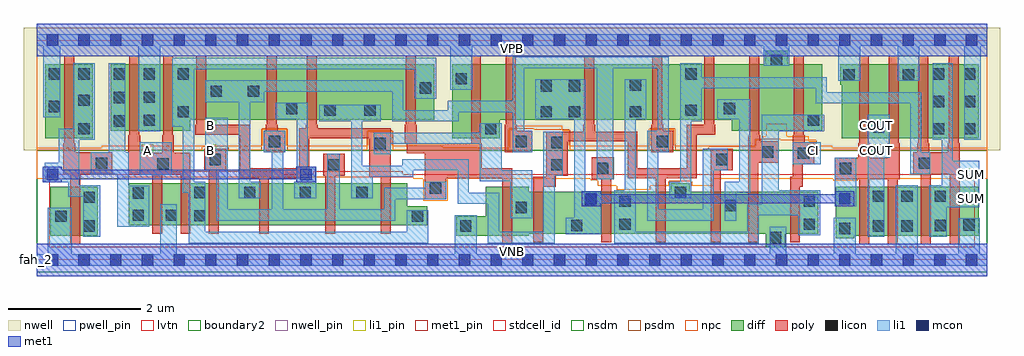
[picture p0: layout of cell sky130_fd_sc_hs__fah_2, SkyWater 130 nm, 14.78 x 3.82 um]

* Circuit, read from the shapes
.subckt sky130_fd_sc_hs__fah_2 A B CI COUT SUM VGND VNB VPB VPWR
XM1 n1 n2 VGND VNB sky130_fd_pr__nfet_01v8_lvt w=0.74 l=0.15
XM2 VGND A n2 VNB sky130_fd_pr__nfet_01v8_lvt w=0.64 l=0.15
XM3 n3 A VGND VNB sky130_fd_pr__nfet_01v8_lvt w=0.64 l=0.15
XM4 n4 B n3 VNB sky130_fd_pr__nfet_01v8_lvt w=0.64 l=0.15
XM5 n1 n5 n4 VNB sky130_fd_pr__nfet_01v8_lvt w=0.64 l=0.15
XM6 n6 B n1 VNB sky130_fd_pr__nfet_01v8_lvt w=0.64 l=0.15
XM7 n3 n5 n6 VNB sky130_fd_pr__nfet_01v8_lvt w=0.64 l=0.15
XM8 n5 B VGND VNB sky130_fd_pr__nfet_01v8_lvt w=0.74 l=0.15
XM9 n7 n6 n5 VNB sky130_fd_pr__nfet_01v8_lvt w=0.64 l=0.15
XM10 n8 n4 n7 VNB sky130_fd_pr__nfet_01v8_lvt w=0.64 l=0.15
XM11 n9 n6 n8 VNB sky130_fd_pr__nfet_01v8_lvt w=0.64 l=0.15
XM12 n10 n4 n9 VNB sky130_fd_pr__nfet_01v8_lvt w=0.64 l=0.15
XM13 VGND n8 n10 VNB sky130_fd_pr__nfet_01v8_lvt w=0.64 l=0.15
XM14 n8 CI VGND VNB sky130_fd_pr__nfet_01v8_lvt w=0.64 l=0.15
XM15 COUT n7 VGND VNB sky130_fd_pr__nfet_01v8_lvt w=0.74 l=0.15 m=2
XM16 SUM n9 VGND VNB sky130_fd_pr__nfet_01v8_lvt w=0.74 l=0.15 m=2
XM17 n1 n2 VPWR VPB sky130_fd_pr__pfet_01v8 w=1.12 l=0.15
XM18 VPWR A n2 VPB sky130_fd_pr__pfet_01v8 w=1 l=0.15
XM19 n3 A VPWR VPB sky130_fd_pr__pfet_01v8 w=1 l=0.15
XM20 n4 n5 n3 VPB sky130_fd_pr__pfet_01v8 w=0.84 l=0.15
XM21 n1 B n4 VPB sky130_fd_pr__pfet_01v8 w=0.84 l=0.15
XM22 n6 n5 n1 VPB sky130_fd_pr__pfet_01v8 w=0.84 l=0.15
XM23 n3 B n6 VPB sky130_fd_pr__pfet_01v8 w=0.84 l=0.15
XM24 n5 B VPWR VPB sky130_fd_pr__pfet_01v8 w=1.12 l=0.15
XM25 n7 n4 n5 VPB sky130_fd_pr__pfet_01v8 w=0.84 l=0.15
XM26 n8 n6 n7 VPB sky130_fd_pr__pfet_01v8 w=0.84 l=0.15
XM27 n9 n4 n8 VPB sky130_fd_pr__pfet_01v8 w=0.84 l=0.15
XM28 n10 n6 n9 VPB sky130_fd_pr__pfet_01v8 w=0.84 l=0.15
XM29 VPWR n8 n10 VPB sky130_fd_pr__pfet_01v8 w=1 l=0.15
XM30 n8 CI VPWR VPB sky130_fd_pr__pfet_01v8 w=1 l=0.15
XM31 COUT n7 VPWR VPB sky130_fd_pr__pfet_01v8 w=1.12 l=0.15 m=2
XM32 SUM n9 VPWR VPB sky130_fd_pr__pfet_01v8 w=1.12 l=0.15 m=2
.ends

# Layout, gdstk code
import gdstk
lib = gdstk.Library(unit=1e-6, precision=1e-09)
def R(c, l, rs):  # rectangles x0, y0, x1, y1
    for r in rs: c.add(gdstk.rectangle(r[:2], r[2:], *l))
def A(c, l, x, y, w, h, nx, ny, dx, dy):  # array of equal rectangles
    R(c, l, [(x+i*dx, y+j*dy, x+i*dx+w, y+j*dy+h) for i in range(nx) for j in range(ny)])
def P(c, l, *ps):  # polygons
    for p in ps: c.add(gdstk.Polygon(p, *l))
nwell_pin = (64, 16)
nwell = (64, 20)
diff = (65, 20)
poly = (66, 20)
licon = (66, 44)
li1_pin = (67, 16)
li1 = (67, 20)
mcon = (67, 44)
met1_pin = (68, 16)
met1 = (68, 20)
stdcell_id = (81, 4)
nsdm = (93, 44)
psdm = (94, 20)
npc = (95, 20)
pwell_pin = (122, 16)
lvtn = (125, 44)
boundary2 = (236, 0)

sky130_fd_sc_hs__fah_2 = lib.new_cell('sky130_fd_sc_hs__fah_2')
R(sky130_fd_sc_hs__fah_2, nwell_pin, [(0,3.085,14.4,3.33)])
R(sky130_fd_sc_hs__fah_2, nwell, [(-0.19,1.66,14.59,3.52)])
R(sky130_fd_sc_hs__fah_2, diff, [(0.21,0.37,0.925,1.11), (0.135,1.84,0.85,2.96)])
P(sky130_fd_sc_hs__fah_2, diff, [(5.915,0.81),(5.615,0.81),(5.615,1.165),(1.395,1.165),(1.395,0.525),(5.915,0.525)],
  [(6.025,2.96),(1.12,2.96),(1.12,1.96),(2.33,1.96),(2.33,2.12),(6.025,2.12)],
  [(11.835,1.035),(9.895,1.035),(9.895,1.165),(9.605,1.165),(9.605,1.035),(7.45,1.035),(7.45,1.11),(6.8,1.11),(6.8,0.66),(6.355,0.66),(6.355,0.37),(7.45,0.37),(7.45,0.395),(11.045,0.395),(11.045,0.195),(11.335,0.195),(11.335,0.395),(11.835,0.395)],
  [(11.9,2.96),(11.375,2.96),(11.375,3.17),(11.035,3.17),(11.035,2.96),(6.295,2.96),(6.295,1.84),(7.015,1.84),(7.015,2.12),(10.53,2.12),(10.53,1.96),(11.9,1.96)],
  [(14.265,2.96),(12.17,2.96),(12.17,2.65),(12.19,2.65),(12.19,1.84),(14.265,1.84)],
  [(14.265,1.11),(12.105,1.11),(12.105,0.33),(12.385,0.33),(12.385,0.37),(14.265,0.37)])
P(sky130_fd_sc_hs__fah_2, poly, [(13.07,1.765),(13.055,1.765),(13.055,3.09),(12.905,3.09),(12.905,1.765),(12.89,1.765),(12.89,1.55),(12.62,1.55),(12.62,1.765),(12.605,1.765),(12.605,3.09),(12.455,3.09),(12.455,1.765),(12.44,1.765),(12.44,1.55),(12.085,1.55),(12.085,1.22),(12.46,1.22),(12.46,0.24),(12.61,0.24),(12.61,1.22),(12.89,1.22),(12.89,0.24),(13.04,0.24),(13.04,1.22),(13.07,1.22)],
  [(13.98,1.765),(13.965,1.765),(13.965,3.09),(13.815,3.09),(13.815,1.765),(13.8,1.765),(13.8,1.63),(13.52,1.63),(13.52,1.765),(13.505,1.765),(13.505,3.09),(13.355,3.09),(13.355,1.765),(13.34,1.765),(13.34,1.63),(13.28,1.63),(13.28,1.3),(13.39,1.3),(13.39,0.24),(13.54,0.24),(13.54,1.3),(13.83,1.3),(13.83,0.24),(13.98,0.24)],
  [(8.74,1.555),(8.41,1.555),(8.41,1.225),(8.55,1.225),(8.55,0.265),(8.7,0.265),(8.7,1.225),(8.74,1.225)],
  [(9.64,1.96),(9.49,1.96),(9.49,2.045),(9.475,2.045),(9.475,3.09),(9.325,3.09),(9.325,2.045),(9.31,2.045),(9.31,1.63),(9.64,1.63)],
  [(10.275,2.045),(10.26,2.045),(10.26,3.09),(10.11,3.09),(10.11,2.045),(9.85,2.045),(9.85,1.39),(9.1,1.39),(9.1,1.945),(8.46,1.945),(8.46,2.045),(8.445,2.045),(8.445,3.09),(8.295,3.09),(8.295,2.045),(8.28,2.045),(8.28,1.945),(7.715,1.945),(7.715,1.26),(7.525,1.26),(7.525,0.265),(7.675,0.265),(7.675,1.11),(7.865,1.11),(7.865,1.275),(8.045,1.275),(8.045,1.795),(8.95,1.795),(8.95,1.24),(9.38,1.24),(9.38,0.265),(9.53,0.265),(9.53,1.24),(10,1.24),(10,1.895),(10.275,1.895)],
  [(10.54,1.685),(10.21,1.685),(10.21,0.265),(10.36,0.265),(10.36,1.355),(10.54,1.355)],
  [(11.24,1.8),(10.96,1.8),(10.96,1.885),(10.945,1.885),(10.945,3.09),(10.795,3.09),(10.795,1.885),(10.78,1.885),(10.78,0.265),(10.93,0.265),(10.93,1.47),(11.24,1.47)],
  [(11.78,1.78),(11.63,1.78),(11.63,1.885),(11.615,1.885),(11.615,3.09),(11.465,3.09),(11.465,1.885),(11.45,1.885),(11.45,1.26),(11.41,1.26),(11.41,0.265),(11.56,0.265),(11.56,1.11),(11.6,1.11),(11.6,1.45),(11.78,1.45)],
  [(1.15,1.63),(0.585,1.63),(0.585,1.765),(0.57,1.765),(0.57,3.09),(0.42,3.09),(0.42,1.765),(0.405,1.765),(0.405,1.3),(0.51,1.3),(0.51,0.24),(0.66,0.24),(0.66,1.3),(1.15,1.3)],
  [(2.33,1.62),(2.08,1.62),(2.08,1.885),(2.065,1.885),(2.065,3.09),(1.915,3.09),(1.915,1.885),(1.9,1.885),(1.9,1.62),(1.57,1.62),(1.57,1.885),(1.555,1.885),(1.555,3.09),(1.405,3.09),(1.405,1.885),(1.39,1.885),(1.39,1.29),(1.75,1.29),(1.75,0.395),(1.9,0.395),(1.9,1.29),(2.18,1.29),(2.18,0.395),(2.33,0.395)],
  [(2.87,1.685),(2.54,1.685),(2.54,1.355),(2.61,1.355),(2.61,0.395),(2.76,0.395),(2.76,1.355),(2.87,1.355)],
  [(3.77,1.96),(3.65,1.96),(3.65,2.045),(3.635,2.045),(3.635,3.09),(3.485,3.09),(3.485,2.045),(3.47,2.045),(3.47,1.96),(3.44,1.96),(3.44,1.63),(3.77,1.63)],
  [(4.67,1.605),(4.34,1.605),(4.34,1.275),(4.37,1.275),(4.37,0.395),(4.52,0.395),(4.52,1.275),(4.67,1.275)],
  [(5.365,1.995),(4.26,1.995),(4.26,2.045),(4.245,2.045),(4.245,3.09),(4.095,3.09),(4.095,2.045),(4.08,2.045),(4.08,1.995),(3.98,1.995),(3.98,1.39),(3.23,1.39),(3.23,2.045),(2.57,2.045),(2.57,3.09),(2.42,3.09),(2.42,2.045),(2.405,2.045),(2.405,1.895),(3.08,1.895),(3.08,1.24),(3.37,1.24),(3.37,0.395),(3.52,0.395),(3.52,1.24),(4.13,1.24),(4.13,1.845),(5.035,1.845),(5.035,1.255),(5.215,1.255),(5.215,0.395),(5.365,0.395)],
  [(7.2,1.39),(6.745,1.39),(6.745,1.765),(6.73,1.765),(6.73,3.09),(6.58,3.09),(6.58,1.765),(5.755,1.765),(5.755,2.045),(5.74,2.045),(5.74,3.09),(5.59,3.09),(5.59,2.045),(5.575,2.045),(5.575,1.765),(5.605,1.765),(5.605,1.615),(5.875,1.615),(5.875,0.92),(6.205,0.92),(6.205,1.24),(7.05,1.24),(7.05,0.24),(7.2,0.24)],
  [(7.505,1.96),(7.27,1.96),(7.27,2.045),(7.255,2.045),(7.255,3.09),(7.105,3.09),(7.105,2.045),(7.09,2.045),(7.09,1.63),(7.505,1.63)])
A(sky130_fd_sc_hs__fah_2, licon, 13.575, 1.9, 0.17, 0.17, 1, 3, 0, 0.415)
A(sky130_fd_sc_hs__fah_2, licon, 14.045, 1.9, 0.17, 0.17, 1, 3, 0, 0.415)
A(sky130_fd_sc_hs__fah_2, licon, 1.17, 2.02, 0.17, 0.17, 1, 3, 0, 0.355)
A(sky130_fd_sc_hs__fah_2, licon, 1.62, 2.03, 0.17, 0.17, 1, 3, 0, 0.35)
R(sky130_fd_sc_hs__fah_2, licon, [(11.105,0.255,11.275,0.425), (12.155,0.39,12.325,0.56), (0.715,0.43,0.885,0.6), (6.415,0.43,6.585,0.6), (12.665,0.43,12.835,0.6), (13.095,0.43,13.265,0.6), (8.095,0.435,8.265,0.605), (13.6,0.435,13.77,0.605), (14.035,0.445,14.205,0.615), (8.825,0.455,8.995,0.625), (11.615,0.455,11.785,0.625), (0.285,0.575,0.455,0.745), (5.685,0.58,5.855,0.75), (2.385,0.585,2.555,0.755), (1.455,0.59,1.625,0.76), (1.955,0.59,2.125,0.76), (7.255,0.71,7.425,0.88), (10.425,0.74,10.595,0.91), (8.825,0.805,8.995,0.975), (11.615,0.805,11.785,0.975), (8.305,0.825,8.475,0.995), (0.715,0.865,0.885,1.035), (12.665,0.88,12.835,1.05), (13.095,0.88,13.265,1.05), (13.6,0.88,13.77,1.05), (1.455,0.93,1.625,1.1), (2.385,0.935,2.555,1.105), (3.145,0.935,3.315,1.105), (3.985,0.935,4.155,1.105), (4.845,0.935,5.015,1.105), (9.665,0.935,9.835,1.105), (5.955,1,6.125,1.17), (12.165,1.3,12.335,1.47), (8.49,1.305,8.66,1.475), (4.42,1.355,4.59,1.525), (7.795,1.355,7.965,1.525), (1.83,1.37,2,1.54), (0.9,1.38,1.07,1.55), (13.36,1.38,13.53,1.55), (2.62,1.435,2.79,1.605), (10.29,1.435,10.46,1.605), (11.53,1.53,11.7,1.7), (10.99,1.55,11.16,1.72), (5.115,1.68,5.285,1.85), (7.795,1.695,7.965,1.865), (3.52,1.71,3.69,1.88), (7.255,1.71,7.425,1.88), (9.39,1.71,9.56,1.88), (0.635,1.9,0.805,2.07), (6.795,1.9,6.965,2.07), (12.67,1.925,12.84,2.095), (11.68,2.03,11.85,2.2), (2.135,2.16,2.305,2.33), (7.635,2.16,7.805,2.33), (8.06,2.16,8.23,2.33), (8.985,2.16,9.155,2.33), (4.36,2.18,4.53,2.35), (4.965,2.18,5.135,2.35), (9.825,2.18,9.995,2.35), (3.78,2.21,3.95,2.38), (10.41,2.21,10.58,2.38), (0.185,2.24,0.355,2.41), (0.635,2.335,0.805,2.505), (2.635,2.47,2.805,2.64), (3.2,2.47,3.37,2.64), (5.805,2.52,5.975,2.69), (7.635,2.55,7.805,2.72), (8.06,2.55,8.23,2.72), (8.985,2.565,9.155,2.735), (6.345,2.66,6.515,2.83), (12.22,2.72,12.39,2.89), (13.12,2.72,13.29,2.89), (0.185,2.73,0.355,2.9), (0.635,2.73,0.805,2.9), (2.135,2.73,2.305,2.9), (9.825,2.73,9.995,2.9), (11.12,2.94,11.29,3.11)])
R(sky130_fd_sc_hs__fah_2, li1_pin, [(14.075,0.84,14.245,1.01), (14.075,1.21,14.245,1.38), (1.595,1.58,1.765,1.75), (2.555,1.58,2.725,1.75), (11.675,1.58,11.845,1.75), (12.635,1.58,12.805,1.75), (2.555,1.95,2.725,2.12), (12.635,1.95,12.805,2.12)])
R(sky130_fd_sc_hs__fah_2, li1, [(12.085,0.81,12.415,1.55), (1.565,1.29,2.045,1.78), (11.45,1.45,11.875,1.78)])
P(sky130_fd_sc_hs__fah_2, li1, [(11.015,2.94),(11.015,3.245),(6.595,3.245),(6.595,2.58),(6.265,2.58),(6.265,3.245),(1.87,3.245),(1.87,1.95),(1.54,1.95),(1.54,3.245),(0.36,3.245),(0.36,2.16),(0.105,2.16),(0.105,3.245),(0,3.245),(0,3.415),(14.4,3.415),(14.4,3.245),(14.295,3.245),(14.295,1.82),(14.045,1.82),(14.045,3.245),(13.37,3.245),(13.37,2.71),(13.04,2.71),(13.04,3.245),(12.47,3.245),(12.47,2.71),(12.14,2.71),(12.14,3.245),(11.395,3.245),(11.395,2.94)],
  [(11.105,0.085),(11.105,0.505),(11.355,0.505),(11.355,0.085),(12.075,0.085),(12.075,0.64),(12.405,0.64),(12.405,0.085),(13.015,0.085),(13.015,1.13),(13.345,1.13),(13.345,0.085),(13.955,0.085),(13.955,0.63),(14.285,0.63),(14.285,0.085),(14.4,0.085),(14.4,-0.085),(0,-0.085),(0,0.085),(0.17,0.085),(0.17,0.79),(0.535,0.79),(0.535,0.085),(1.875,0.085),(1.875,0.845),(2.125,0.845),(2.125,0.085),(6.335,0.085),(6.335,0.68),(6.665,0.68),(6.665,0.085)],
  [(14.275,1.505),(13.875,1.505),(13.875,2.98),(13.57,2.98),(13.57,1.82),(13.705,1.82),(13.705,1.13),(13.515,1.13),(13.515,0.355),(13.785,0.355),(13.785,0.8),(14.275,0.8)],
  [(12.585,2.2),(12.92,2.2),(12.92,1.55),(12.835,1.55),(12.835,0.35),(12.585,0.35)],
  [(2.725,0.595),(2.725,1.355),(2.555,1.355),(2.555,2.15),(2.895,2.15),(2.895,0.765),(3.565,0.765),(3.565,1.63),(3.44,1.63),(3.44,1.96),(3.77,1.96),(3.77,1.63),(3.735,1.63),(3.735,0.765),(4.405,0.765),(4.405,1.605),(4.595,1.605),(4.595,0.765),(5.265,0.765),(5.265,1.09),(5.875,1.09),(5.875,1.185),(6.205,1.185),(6.205,0.92),(5.435,0.92),(5.435,0.595)],
  [(5.535,1.43),(5.535,1.525),(6.545,1.525),(6.545,1.02),(7.005,1.02),(7.005,0.425),(7.675,0.425),(7.675,1.945),(7.97,1.945),(7.97,1.275),(7.845,1.275),(7.845,0.255),(6.835,0.255),(6.835,0.85),(6.375,0.85),(6.375,1.355),(5.705,1.355),(5.705,1.26),(5.095,1.26),(5.095,0.935),(4.765,0.935),(4.765,2.1),(4.28,2.1),(4.28,2.35),(5.215,2.35),(5.215,2.1),(4.935,2.1),(4.935,1.43)],
  [(3.94,1.185),(3.94,2.13),(3.62,2.13),(3.62,2.38),(4.11,2.38),(4.11,1.41),(4.235,1.41),(4.235,0.935),(3.905,0.935),(3.905,1.185)],
  [(0.965,1.13),(0.65,1.13),(0.65,1.82),(0.885,1.82),(0.885,2.98),(0.555,2.98),(0.555,1.99),(0.335,1.99),(0.335,1.47),(0.125,1.47),(0.125,1.18),(0.48,1.18),(0.48,0.96),(0.705,0.96),(0.705,0.35),(0.965,0.35)],
  [(10.765,0.845),(10.98,0.845),(10.98,2.2),(11.93,2.2),(11.93,1.95),(11.24,1.95),(11.24,1.055),(11.865,1.055),(11.865,0.375),(11.535,0.375),(11.535,0.675),(10.935,0.675),(10.935,0.255),(8.745,0.255),(8.745,1.055),(8.905,1.055),(8.905,2.735),(9.235,2.735),(9.235,2.13),(9.075,2.13),(9.075,0.425),(10.765,0.425)],
  [(8.14,2.13),(7.555,2.13),(7.555,2.735),(8.31,2.735),(8.31,1.04),(8.555,1.04),(8.555,0.39),(8.015,0.39),(8.015,0.64),(8.14,0.64)],
  [(5.555,2.72),(5.555,2.27),(6.225,2.27),(6.225,2.41),(7.215,2.41),(7.215,3.075),(9.575,3.075),(9.575,1.63),(9.415,1.63),(9.415,0.765),(10.085,0.765),(10.085,1.685),(10.47,1.685),(10.47,1.355),(10.255,1.355),(10.255,0.595),(9.245,0.595),(9.245,1.96),(9.405,1.96),(9.405,2.905),(8.735,2.905),(8.735,1.225),(8.48,1.225),(8.48,2.905),(7.385,2.905),(7.385,1.96),(7.505,1.96),(7.505,1.63),(7.215,1.63),(7.215,2.24),(6.395,2.24),(6.395,2.1),(5.385,2.1),(5.385,2.55),(3.45,2.55),(3.45,2.39),(3.235,2.39),(3.235,1.185),(3.395,1.185),(3.395,0.935),(3.065,0.935),(3.065,2.39),(2.555,2.39),(2.555,2.72)],
  [(9.745,2.98),(10.075,2.98),(10.075,2.77),(11.97,2.77),(11.97,2.54),(13.4,2.54),(13.4,1.63),(13.535,1.63),(13.535,1.3),(13.23,1.3),(13.23,2.37),(11.8,2.37),(11.8,2.6),(10.075,2.6),(10.075,2.1),(9.915,2.1),(9.915,0.935),(9.585,0.935),(9.585,1.185),(9.745,1.185)],
  [(10.81,1.015),(10.595,1.015),(10.595,0.595),(10.425,0.595),(10.425,1.185),(10.64,1.185),(10.64,2.13),(10.31,2.13),(10.31,2.43),(10.81,2.43)],
  [(2.055,2.015),(2.055,3.06),(6.055,3.06),(6.055,2.44),(5.725,2.44),(5.725,2.89),(2.385,2.89),(2.385,1.185),(2.555,1.185),(2.555,0.425),(5.605,0.425),(5.605,0.75),(5.935,0.75),(5.935,0.255),(2.305,0.255),(2.305,1.015),(2.215,1.015),(2.215,2.015)],
  [(6.715,1.93),(6.715,2.07),(7.045,2.07),(7.045,1.36),(7.505,1.36),(7.505,0.63),(7.175,0.63),(7.175,1.19),(6.715,1.19),(6.715,1.76),(5.365,1.76),(5.365,1.6),(5.105,1.6),(5.105,1.93)],
  [(0.82,1.3),(0.82,1.63),(1.09,1.63),(1.09,2.98),(1.34,2.98),(1.34,1.63),(1.395,1.63),(1.395,1.12),(1.705,1.12),(1.705,0.505),(1.225,0.505),(1.225,1.3)])
A(sky130_fd_sc_hs__fah_2, mcon, 0.155, -0.085, 0.17, 0.17, 30, 2, 0.48, 3.33)
R(sky130_fd_sc_hs__fah_2, mcon, [(8.315,0.84,8.485,1.01), (12.155,0.84,12.325,1.01), (0.155,1.21,0.325,1.38), (3.995,1.21,4.165,1.38)])
R(sky130_fd_sc_hs__fah_2, met1_pin, [(0,0,14.4,0.245), (0,3.085,14.4,3.33)])
R(sky130_fd_sc_hs__fah_2, met1, [(0,-0.245,14.4,0.245), (0,3.085,14.4,3.575)])
P(sky130_fd_sc_hs__fah_2, met1, [(3.935,1.18),(3.935,1.225),(0.385,1.225),(0.385,1.18),(0.095,1.18),(0.095,1.41),(0.385,1.41),(0.385,1.365),(3.935,1.365),(3.935,1.41),(4.225,1.41),(4.225,1.18)],
  [(8.255,0.81),(8.255,1.04),(8.545,1.04),(8.545,0.995),(12.095,0.995),(12.095,1.04),(12.385,1.04),(12.385,0.81),(12.095,0.81),(12.095,0.855),(8.545,0.855),(8.545,0.81)])
R(sky130_fd_sc_hs__fah_2, stdcell_id, [(0,0,14.4,3.33)])
R(sky130_fd_sc_hs__fah_2, nsdm, [(0,-0.19,14.4,1.66)])
P(sky130_fd_sc_hs__fah_2, psdm, [(14.4,3.52),(0,3.52),(0,1.66),(2.51,1.66),(2.51,1.715),(2.9,1.715),(2.9,1.66),(3.41,1.66),(3.41,1.99),(3.8,1.99),(3.8,1.66),(5.005,1.66),(5.005,1.96),(5.395,1.96),(5.395,1.66),(7.145,1.66),(7.145,1.99),(7.535,1.99),(7.535,1.975),(8.075,1.975),(8.075,1.66),(9.28,1.66),(9.28,1.99),(9.67,1.99),(9.67,1.66),(10.18,1.66),(10.18,1.715),(10.88,1.715),(10.88,1.83),(11.27,1.83),(11.27,1.81),(11.81,1.81),(11.81,1.66),(14.4,1.66)])
P(sky130_fd_sc_hs__fah_2, npc, [(14.4,1.7),(12.05,1.7),(12.05,1.73),(11.8,1.73),(11.8,1.8),(11.695,1.8),(11.695,1.87),(11.36,1.87),(11.36,2.065),(11.05,2.065),(11.05,1.87),(10.995,1.87),(10.995,1.82),(10.89,1.82),(10.89,1.73),(9.66,1.73),(9.66,1.98),(9.29,1.98),(9.29,1.73),(8.065,1.73),(8.065,1.965),(7.96,1.965),(7.96,2.03),(7.26,2.03),(7.26,1.98),(7.155,1.98),(7.155,1.7),(6.155,1.7),(6.155,1.73),(5.385,1.73),(5.385,1.95),(5.015,1.95),(5.015,1.73),(3.79,1.73),(3.79,1.98),(3.42,1.98),(3.42,1.73),(0.99,1.73),(0.99,1.7),(0,1.7),(0,1.23),(1.305,1.23),(1.305,1.255),(5.705,1.255),(5.705,1.23),(5.855,1.23),(5.855,0.9),(6.225,0.9),(6.225,1.23),(8.39,1.23),(8.39,1.205),(8.495,1.205),(8.495,1.125),(8.79,1.125),(8.79,1.065),(9.29,1.065),(9.29,1.125),(9.575,1.125),(9.575,1.195),(9.925,1.195),(9.925,1.125),(10.25,1.125),(10.25,1.23),(12.065,1.23),(12.065,1.2),(12.435,1.2),(12.435,1.23),(14.4,1.23)])
R(sky130_fd_sc_hs__fah_2, pwell_pin, [(0,0,14.4,0.245)])
P(sky130_fd_sc_hs__fah_2, lvtn, [(14.21,1.3),(5.545,1.3),(5.545,1.345),(4.19,1.345),(4.19,1.3),(3.7,1.3),(3.7,1.345),(1.57,1.345),(1.57,1.3),(0.19,1.3),(0.19,0.19),(14.21,0.19)])
R(sky130_fd_sc_hs__fah_2, boundary2, [(0,0,14.4,3.33)])
sky130_fd_sc_hs__fah_2.add(gdstk.Label('fah_2', (0,0), layer=83, texttype=44))
sky130_fd_sc_hs__fah_2.add(gdstk.Label('VNB', (7.2,0.123), layer=64, texttype=59))
sky130_fd_sc_hs__fah_2.add(gdstk.Label('VPB', (7.2,3.208), layer=64, texttype=5))
sky130_fd_sc_hs__fah_2.add(gdstk.Label('VPWR', (7.2,3.208), layer=68, texttype=5))
sky130_fd_sc_hs__fah_2.add(gdstk.Label('VGND', (7.2,0.123), layer=68, texttype=5))
sky130_fd_sc_hs__fah_2.add(gdstk.Label('A', (1.68,1.665), layer=67, texttype=5))
sky130_fd_sc_hs__fah_2.add(gdstk.Label('CI', (11.76,1.665), layer=67, texttype=5))
sky130_fd_sc_hs__fah_2.add(gdstk.Label('SUM', (14.16,0.925), layer=67, texttype=5))
sky130_fd_sc_hs__fah_2.add(gdstk.Label('SUM', (14.16,1.295), layer=67, texttype=5))
sky130_fd_sc_hs__fah_2.add(gdstk.Label('COUT', (12.72,1.665), layer=67, texttype=5))
sky130_fd_sc_hs__fah_2.add(gdstk.Label('COUT', (12.72,2.035), layer=67, texttype=5))
sky130_fd_sc_hs__fah_2.add(gdstk.Label('B', (2.64,1.665), layer=67, texttype=5))
sky130_fd_sc_hs__fah_2.add(gdstk.Label('B', (2.64,2.035), layer=67, texttype=5))

lib.write_gds('sky130_fd_sc_hs__fah_2.gds')
